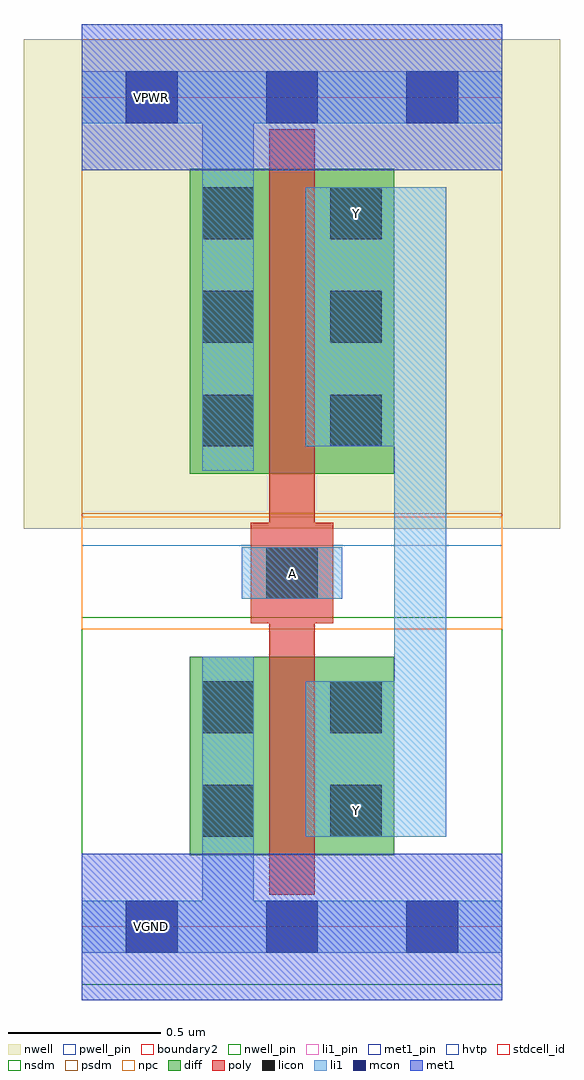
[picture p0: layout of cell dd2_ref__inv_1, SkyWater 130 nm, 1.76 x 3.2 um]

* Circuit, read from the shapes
.subckt dd2_ref__inv_1 A VGND VNB VPB VPWR Y
XM1 Y A VGND VNB sky130_fd_pr__nfet_01v8 w=0.65 l=0.15
XM2 Y A VPWR VPB sky130_fd_pr__pfet_01v8_hvt w=1 l=0.15
.ends

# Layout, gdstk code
import gdstk
lib = gdstk.Library(unit=1e-6, precision=1e-09)
def R(c, l, rs):  # rectangles x0, y0, x1, y1
    for r in rs: c.add(gdstk.rectangle(r[:2], r[2:], *l))
def A(c, l, x, y, w, h, nx, ny, dx, dy):  # array of equal rectangles
    R(c, l, [(x+i*dx, y+j*dy, x+i*dx+w, y+j*dy+h) for i in range(nx) for j in range(ny)])
nwell_pin = (64, 16)
nwell = (64, 20)
diff = (65, 20)
poly = (66, 20)
licon = (66, 44)
li1_pin = (67, 16)
li1 = (67, 20)
mcon = (67, 44)
met1_pin = (68, 16)
met1 = (68, 20)
hvtp = (78, 44)
stdcell_id = (81, 4)
nsdm = (93, 44)
psdm = (94, 20)
npc = (95, 20)
pwell_pin = (122, 16)
boundary2 = (236, 0)

dd2_ref__inv_1 = lib.new_cell('dd2_ref__inv_1')
R(dd2_ref__inv_1, nwell_pin, [(0.145,2.635,0.315,2.805)])
R(dd2_ref__inv_1, nwell, [(-0.19,1.305,1.57,2.91)])
R(dd2_ref__inv_1, diff, [(0.355,0.235,1.025,0.885), (0.355,1.485,1.025,2.485)])
R(dd2_ref__inv_1, poly, [(0.615,0.105,0.765,2.615), (0.555,0.995,0.825,1.325)])
A(dd2_ref__inv_1, licon, 0.395, 1.575, 0.17, 0.17, 1, 3, 0, 0.34)
A(dd2_ref__inv_1, licon, 0.815, 1.575, 0.17, 0.17, 1, 3, 0, 0.34)
R(dd2_ref__inv_1, licon, [(0.395,0.295,0.565,0.465), (0.815,0.295,0.985,0.465), (0.395,0.635,0.565,0.805), (0.815,0.635,0.985,0.805), (0.605,1.075,0.775,1.245)])
R(dd2_ref__inv_1, li1_pin, [(0.815,0.295,0.985,0.465), (0.605,1.075,0.775,1.245), (0.815,2.255,0.985,2.425)])
R(dd2_ref__inv_1, li1, [(0,-0.085,1.38,0.085), (0.395,-0.085,0.565,0.545), (0.395,0.295,0.565,0.885), (0.735,0.295,1.065,0.465), (0.735,0.295,1.065,0.805), (0.895,0.295,1.195,0.465), (1.025,0.295,1.195,2.425), (0.525,1.075,0.855,1.245), (0.395,1.495,0.565,2.085), (0.735,1.575,1.065,2.085), (0.395,1.835,0.565,2.425), (0.735,1.915,1.065,2.425), (0.395,2.085,0.565,2.175), (0.395,2.085,0.565,2.175), (0.395,2.085,0.565,2.175), (0.395,2.085,0.565,2.175), (0.395,2.175,0.565,2.805), (0.735,2.255,1.065,2.425), (0.895,2.255,1.195,2.425), (0,2.635,1.38,2.805)])
A(dd2_ref__inv_1, mcon, 0.145, -0.085, 0.17, 0.17, 3, 2, 0.46, 2.72)
R(dd2_ref__inv_1, met1_pin, [(0.145,-0.085,0.315,0.085), (0.145,2.635,0.315,2.805)])
R(dd2_ref__inv_1, met1, [(0,-0.24,1.38,0.24), (0,2.48,1.38,2.96)])
R(dd2_ref__inv_1, hvtp, [(0,1.25,1.38,2.72)])
R(dd2_ref__inv_1, stdcell_id, [(0,0,1.38,2.72)])
R(dd2_ref__inv_1, nsdm, [(0,-0.19,1.38,1.015)])
R(dd2_ref__inv_1, psdm, [(0,1.355,1.38,2.91)])
R(dd2_ref__inv_1, npc, [(0,0.975,1.38,1.345)])
R(dd2_ref__inv_1, pwell_pin, [(0.145,-0.085,0.315,0.085)])
R(dd2_ref__inv_1, boundary2, [(0,0,1.38,2.72)])
dd2_ref__inv_1.add(gdstk.Label('A', (0.69,1.16), layer=67, texttype=5))
dd2_ref__inv_1.add(gdstk.Label('Y', (0.9,0.38), layer=67, texttype=5))
dd2_ref__inv_1.add(gdstk.Label('Y', (0.9,2.34), layer=67, texttype=5))
dd2_ref__inv_1.add(gdstk.Label('VGND', (0.23,0), layer=68, texttype=5))
dd2_ref__inv_1.add(gdstk.Label('VPWR', (0.23,2.72), layer=68, texttype=5))
dd2_ref__inv_1.add(gdstk.Label('VPB', (0.23,2.72), layer=64, texttype=5))
dd2_ref__inv_1.add(gdstk.Label('VNB', (0.23,0), layer=64, texttype=59))

lib.write_gds('dd2_ref__inv_1.gds')
